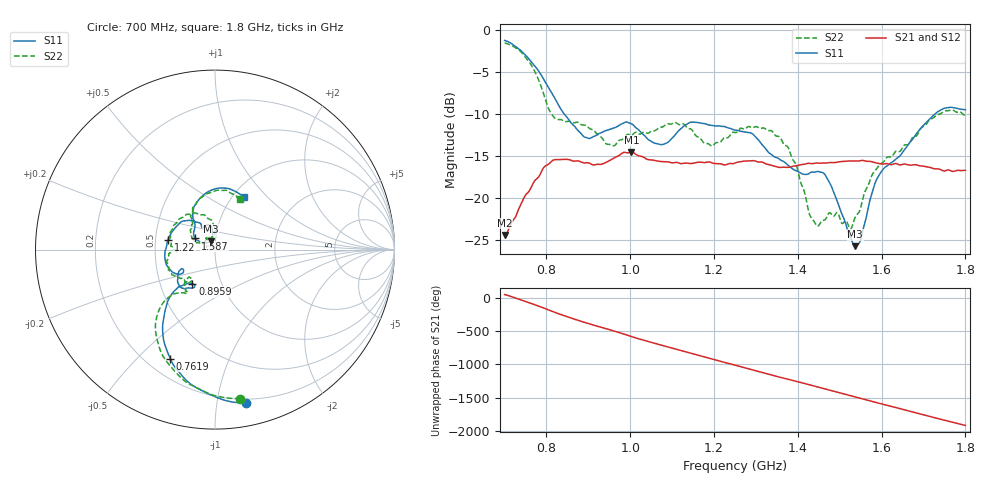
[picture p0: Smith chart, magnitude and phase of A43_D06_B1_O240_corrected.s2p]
! Created with skrf 1.9.0 (http://scikit-rf.org).
# Hz S RI R 50.0
!freq ReS11 ImS11 ReS21 ImS21 ReS12 ImS12 ReS22 ImS22
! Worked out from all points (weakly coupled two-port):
!   1601 points, 700 MHz to 1.8 GHz, reference 50 ohm
!   highest |S21| = -14.50 dB at 1.002 GHz (marker M1); lowest = -24.4 dB at 700.7 MHz (marker M2)
!   lowest |S11| = -25.7 dB at 1.537 GHz (marker M3), VSWR 1.11, Z = 47.5 + j4.38 ohm
!   |S11| at or under -10 dB: 842.8 MHz to 1.727 GHz (883.9 MHz wide, 68.8 % of centre)
!   |S22| runs from -23.7 to -1.5 dB; largest |S21 - S12| = 0.0035
!   S11 on the Smith chart (normalised r, x): 700 MHz: 0.17, -1.21; 761.9 MHz: 0.29, -0.63; 895.9 MHz: 0.73, -0.29; 1.22 GHz: 0.58, +0.07; 1.587 GHz: 0.79, +0.10; 1.8 GHz: 1.12, +0.75
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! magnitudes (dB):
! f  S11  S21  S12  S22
! 700 MHz  -1.2  -24.4  -24.2  -1.5
! 700.7 MHz  -1.2  -24.4  -24.1  -1.5
! 761.9 MHz  -3.7  -18.9  -18.8  -4.0
! 816.9 MHz  -7.8  -15.4  -15.6  -10.3
! 883.6 MHz  -12.4  -15.7  -15.6  -11.2
! 895.9 MHz  -12.8  -15.8  -15.9  -11.4
! 957.1 MHz  -11.7  -15.3  -15.3  -13.7
! 1.002 GHz  -11.1  -14.5  -14.6  -12.5
! 1.067 GHz  -13.5  -15.6  -15.5  -11.7
! 1.143 GHz  -11.0  -15.9  -15.9  -11.7
! 1.22 GHz  -11.4  -16.0  -16.0  -13.0
! 1.25 GHz  -11.9  -15.8  -15.7  -12.2
! 1.357 GHz  -15.4  -16.3  -16.3  -12.7
! 1.396 GHz  -16.7  -16.1  -16.1  -16.0
! 1.434 GHz  -16.9  -15.9  -15.8  -22.4
! 1.47 GHz  -17.6  -15.8  -15.8  -22.1
! 1.537 GHz  -25.7  -15.6  -15.6  -22.3
! 1.55 GHz  -25.0  -15.5  -15.5  -21.2
! 1.587 GHz  -17.9  -15.8  -15.8  -16.6
! 1.617 GHz  -16.0  -15.9  -15.9  -15.1
! 1.733 GHz  -9.7  -16.5  -16.5  -10.1
! 1.8 GHz  -9.5  -16.7  -16.7  -10.1
